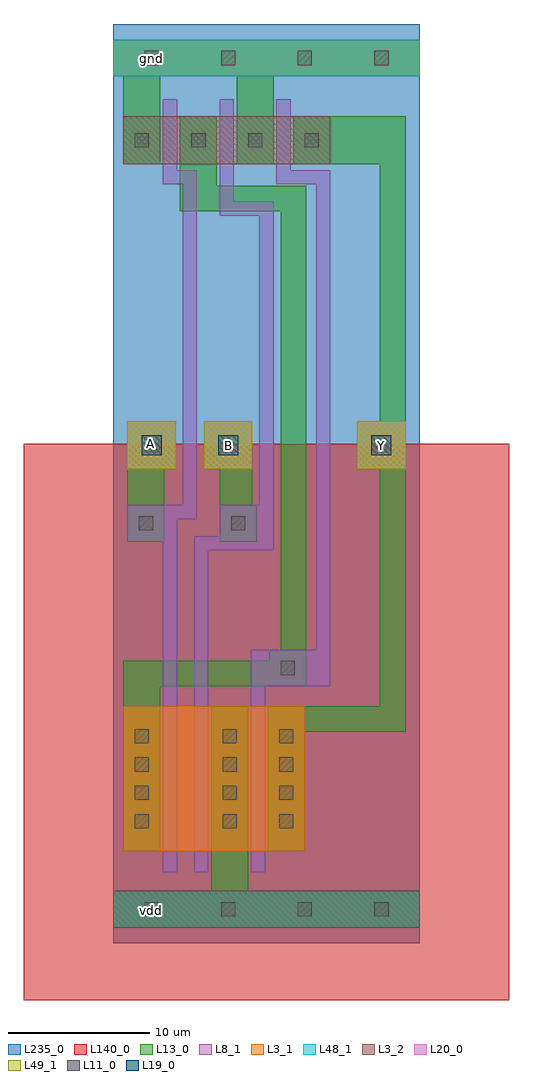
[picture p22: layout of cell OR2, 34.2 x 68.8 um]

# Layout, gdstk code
import gdstk
lib = gdstk.Library(unit=1e-6, precision=1e-09)
def R(c, l, rs):  # rectangles x0, y0, x1, y1
    for r in rs: c.add(gdstk.rectangle(r[:2], r[2:], *l))
def A(c, l, x, y, w, h, nx, ny, dx, dy):  # array of equal rectangles
    R(c, l, [(x+i*dx, y+j*dy, x+i*dx+w, y+j*dy+h) for i in range(nx) for j in range(ny)])
def P(c, l, *ps):  # polygons
    for p in ps: c.add(gdstk.Polygon(p, *l))
L3_1 = (3, 1)
L3_2 = (3, 2)
L8_1 = (8, 1)
L11_0 = (11, 0)
L13_0 = (13, 0)
L19_0 = (19, 0)
L20_0 = (20, 0)
L48_1 = (48, 1)
L49_1 = (49, 1)
L140_0 = (140, 0)
L235_0 = (235, 0)

or2 = lib.new_cell('OR2')
R(or2, L3_1, [(0.7,-58.3,13.5,-48.1), (0,-3.7,21.6,-1.1)])
R(or2, L3_2, [(0,-63.7,21.6,-61.1), (0.7,-9.9,15.3,-6.5)])
P(or2, L8_1, [(5.7,-59.8),(5.7,-36.1),(7.5,-36.1),(7.5,-33.9),(10.3,-33.9),(10.3,-13.5),(7.5,-13.5),(7.5,-5.3),(8.5,-5.3),(8.5,-12.5),(11.3,-12.5),(11.3,-37.1),(6.7,-37.1),(6.7,-59.8)],
  [(3.5,-59.8),(3.5,-36.5),(1,-36.5),(1,-33.9),(4.9,-33.9),(4.9,-11.3),(3.5,-11.3),(3.5,-5.3),(4.5,-5.3),(4.5,-10.3),(5.9,-10.3),(5.9,-34.9),(4.5,-34.9),(4.5,-59.8)],
  [(9.7,-59.8),(9.7,-44.1),(14.3,-44.1),(14.3,-11.3),(11.5,-11.3),(11.5,-5.3),(12.5,-5.3),(12.5,-10.3),(15.3,-10.3),(15.3,-46.7),(10.7,-46.7),(10.7,-59.8)])
A(or2, L11_0, 7.6, -62.9, 1, 1, 3, 2, 5.4, 60)
A(or2, L11_0, 1.5, -56.7, 1, 1, 1, 4, 0, 2)
A(or2, L11_0, 7.7, -56.7, 1, 1, 1, 4, 0, 2)
A(or2, L11_0, 11.7, -56.7, 1, 1, 1, 4, 0, 2)
A(or2, L11_0, 1.5, -8.7, 1, 1, 4, 1, 4, 0)
R(or2, L11_0, [(2.2,-62.9,3.2,-61.9), (2.2,-62.9,3.2,-61.9), (7.6,-62.9,8.6,-61.9), (7.6,-62.9,8.6,-61.9), (7.6,-62.9,8.6,-61.9), (11.8,-45.9,12.8,-44.9), (1.8,-35.7,2.8,-34.7), (8.3,-35.7,9.3,-34.7), (2.2,-2.9,3.2,-1.9), (7.6,-2.9,8.6,-1.9)])
R(or2, L13_0, [(0,-63.7,21.6,-61.1), (6.9,-61.1,9.5,-48.1), (10.9,-58.3,13.5,-48.1), (1,-36.5,3.6,-31.4), (1,-31.4,4.4,-28), (1,-31.4,4.4,-28), (6.4,-31.4,9.8,-28), (6.4,-31.4,9.8,-28), (17.2,-31.4,20.6,-28), (17.2,-31.4,20.6,-28), (0.7,-9.9,3.3,-3.7), (8.7,-9.9,11.3,-3.7), (0,-3.7,21.6,-1.1)])
P(or2, L13_0, [(0.7,-58.3),(0.7,-44.9),(11,-44.9),(11,-44.1),(11.8,-44.1),(11.8,-13.2),(4.7,-13.2),(4.7,-6.5),(7.3,-6.5),(7.3,-11.4),(13.6,-11.4),(13.6,-46.7),(3.3,-46.7),(3.3,-58.3)],
  [(13.5,-49.9),(13.5,-48.1),(18.8,-48.1),(18.8,-9.9),(12.7,-9.9),(12.7,-6.5),(20.6,-6.5),(20.6,-49.9)],
  [(7.5,-36.5),(7.5,-31.4),(9.8,-31.4),(9.8,-33.9),(10.1,-33.9),(10.1,-36.5)])
R(or2, L19_0, [(2,-30.4,3.4,-29), (7.4,-30.4,8.8,-29), (18.2,-30.4,19.6,-29), (18.2,-30.4,19.6,-29)])
R(or2, L20_0, [(1,-31.4,4.4,-28), (6.4,-31.4,9.8,-28), (17.2,-31.4,20.6,-28), (17.2,-31.4,20.6,-28)])
R(or2, L48_1, [(0,-63.7,21.6,-61.1), (0,-3.7,21.6,-1.1)])
R(or2, L49_1, [(1,-31.4,4.4,-28), (6.4,-31.4,9.8,-28), (17.2,-31.4,20.6,-28), (17.2,-31.4,20.6,-28)])
R(or2, L140_0, [(-6.3,-68.8,27.9,-29.6)])
R(or2, L235_0, [(0,-64.8,21.6,0)])
or2.add(gdstk.Label('gnd', (2.7,-2.4), layer=48, texttype=0))
or2.add(gdstk.Label('vdd', (2.7,-62.5), layer=48, texttype=0))
or2.add(gdstk.Label('Y', (18.9,-29.7), layer=49, texttype=0))
or2.add(gdstk.Label('Y', (18.9,-29.7), layer=49, texttype=0))
or2.add(gdstk.Label('A', (2.6,-29.6), layer=49, texttype=0))
or2.add(gdstk.Label('B', (8.1,-29.7), layer=49, texttype=0))

lib.write_gds('OR2.gds')
